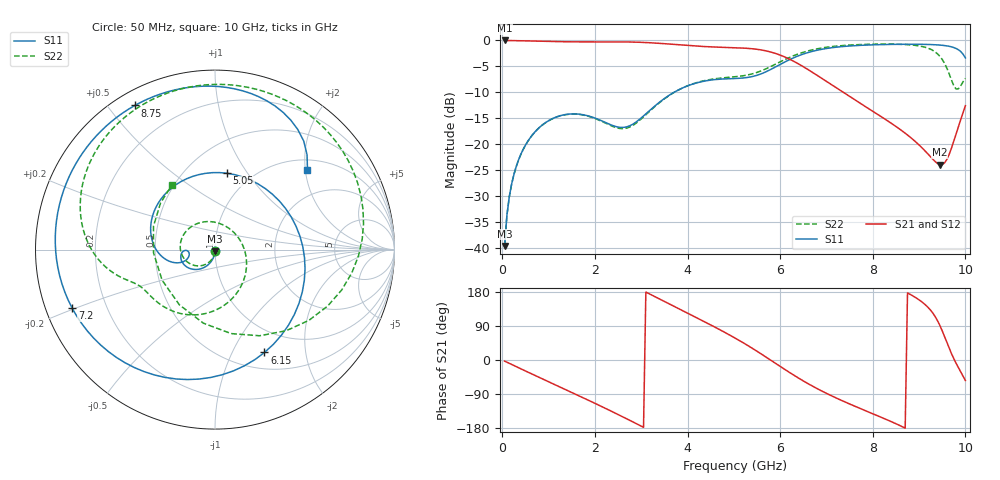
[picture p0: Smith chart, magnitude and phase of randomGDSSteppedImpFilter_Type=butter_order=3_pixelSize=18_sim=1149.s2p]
! freq	dB(S11)	phase(S11)	dB(S12)	phase(S12)
!  dB(S21)	phase(S21)	dB(S22)	phase(S22)
!S-par simulation data
#  GHz  S  DB  R 50
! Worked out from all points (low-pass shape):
!   200 points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, 50 MHz to 10 GHz, reference 50 ohm
!   highest |S21| = -0.01 dB at 50 MHz (marker M1); lowest = -23.9 dB at 9.45 GHz (marker M2)
!   |S21| within 3 dB of the highest: start of sweep to 6.053 GHz
!   lowest |S11| = -39.6 dB at 50 MHz (marker M3), VSWR 1.02, Z = 50 - j1.05 ohm
!   |S11| at or under -10 dB: start of sweep to 3.705 GHz
!   |S22| runs from -39.6 to -0.7 dB; largest |S21 - S12| = 0
!   S11 on the Smith chart (normalised r, x): 50 MHz: 1.00, -0.02; 5.05 GHz: 0.77, +0.81; 6.15 GHz: 0.70, -1.34; 7.2 GHz: 0.08, -0.20; 8.75 GHz: 0.06, +0.59; 10 GHz: 1.25, +2.05
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0.05  -39.56 -91.7  -0.01 -2.9  -0.01 -2.9  -39.59 -92.6
0.2  -27.70 -100.2  -0.03 -11.7  -0.03 -11.7  -27.72 -102.9
0.5  -20.15 -115.9  -0.08 -29.0  -0.08 -29.0  -20.17 -122.8
1.15  -14.79 -147.0  -0.23 -65.9  -0.23 -65.9  -14.81 -165.9
1.75  -14.31 -170.3  -0.28 -99.9  -0.28 -99.9  -14.35 149.6
2.65  -16.70 -168.9  -0.28 -153.0  -0.28 -153.0  -16.94 41.8
3.4  -11.85 -164.6  -0.56 160.6  -0.56 160.6  -11.94 -55.8
4.25  -8.05 151.3  -1.12 108.1  -1.12 108.1  -7.98 -115.5
5.05  -7.32 81.0  -1.41 56.3  -1.41 56.3  -6.97 -148.3
5.7  -6.01 -5.1  -2.02 7.3  -2.02 7.3  -5.44 -162.5
6.15  -3.93 -64.3  -3.38 -28.8  -3.38 -28.8  -3.48 -177.5
6.7  -2.09 -120.1  -6.15 -69.0  -6.15 -69.0  -1.80 156.4
7.2  -1.31 -157.7  -9.06 -99.7  -9.06 -99.7  -1.10 131.4
7.75  -0.94 169.5  -12.22 -129.1  -12.22 -129.1  -0.79 104.2
8.35  -0.77 138.6  -15.64 -159.9  -15.64 -159.9  -0.70 72.8
8.75  -0.73 119.1  -18.20 177.0  -18.20 177.0  -0.81 48.4
9.2  -0.78 96.7  -21.93 138.0  -21.93 138.0  -1.51 9.9
9.45  -0.89 83.1  -23.91 90.9  -23.91 90.9  -3.07 -26.6
9.6  -1.05 74.0  -22.89 46.2  -22.89 46.2  -5.34 -62.6
9.7  -1.24 67.3  -20.72 16.8  -20.72 16.8  -7.64 -99.0
9.85  -1.80 55.4  -16.59 -20.4  -16.59 -20.4  -9.29 -177.0
10  -3.36 40.7  -12.56 -54.1  -12.56 -54.1  -7.29 123.8
